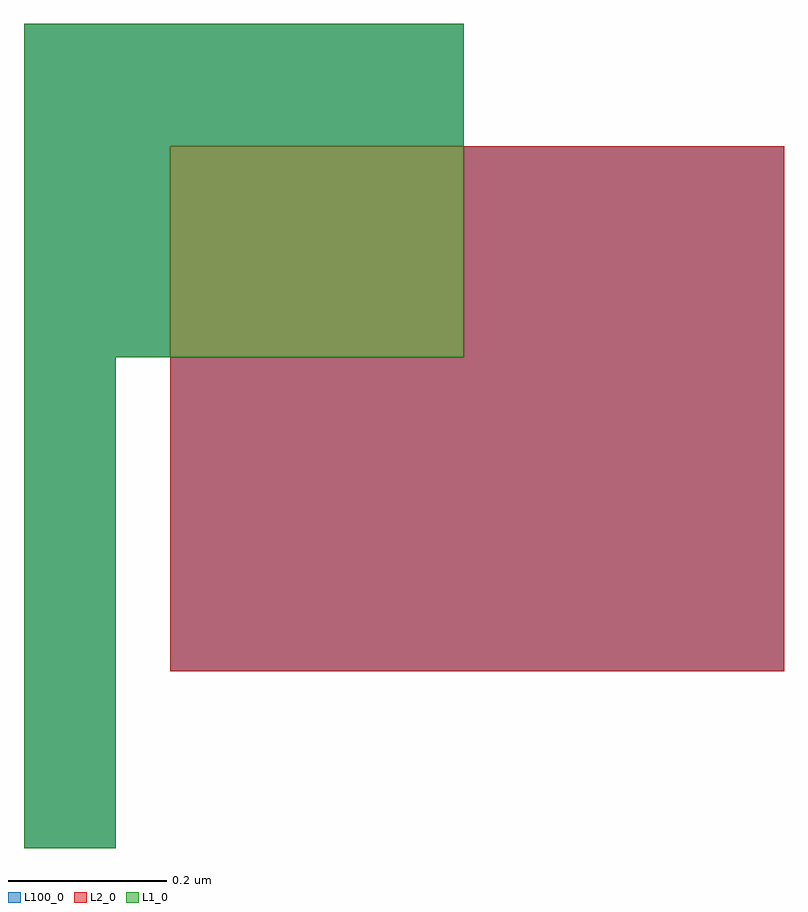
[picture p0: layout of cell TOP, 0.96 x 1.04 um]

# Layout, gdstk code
import gdstk
lib = gdstk.Library(unit=1e-6, precision=1e-09)
def R(c, l, rs):  # rectangles x0, y0, x1, y1
    for r in rs: c.add(gdstk.rectangle(r[:2], r[2:], *l))
def P(c, l, *ps):  # polygons
    for p in ps: c.add(gdstk.Polygon(p, *l))
L1_0 = (1, 0)
L2_0 = (2, 0)
L100_0 = (100, 0)

top = lib.new_cell('TOP')
P(top, L1_0, [(-0.972,-0.22),(-0.972,0.823),(-0.416,0.823),(-0.416,0.401),(-0.856,0.401),(-0.856,-0.22)])
R(top, L2_0, [(-0.787,0.004,-0.011,0.668)])
R(top, L100_0, [(-0.972,-0.22,-0.856,0.401), (-0.787,0.004,-0.011,0.401), (-0.972,0.401,-0.787,0.668), (-0.416,0.401,-0.011,0.668), (-0.972,0.668,-0.416,0.823)])

lib.write_gds('TOP.gds')
